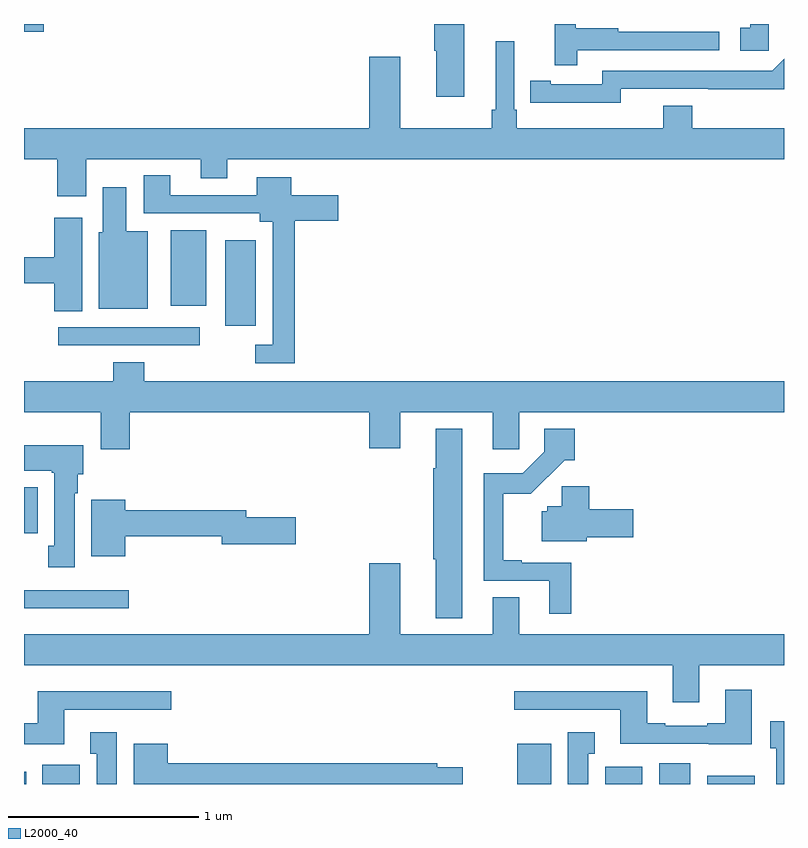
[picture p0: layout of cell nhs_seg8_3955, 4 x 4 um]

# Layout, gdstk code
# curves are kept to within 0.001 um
import gdstk
lib = gdstk.Library(unit=1e-6, precision=1e-09)
def R(c, l, rs):  # rectangles x0, y0, x1, y1
    for r in rs: c.add(gdstk.rectangle(r[:2], r[2:], *l))
def P(c, l, *ps):  # polygons
    for p in ps: c.add(gdstk.Polygon(p, *l))
L2000_40 = (2000, 40)

nhs_seg8_3955 = lib.new_cell('nhs_seg8_3955')
R(nhs_seg8_3955, L2000_40, [(355,1091.9,355.012,1091.965), (355.097,1091.9,355.293,1092.001), (357.596,1091.9,357.775,1092.112), (358.058,1091.9,358.255,1091.992), (358.343,1091.9,358.507,1092.01), (358.595,1091.9,358.846,1091.944), (355,1092.824,355.552,1092.921), (355,1093.22,355.072,1093.462), (355.179,1094.208,355.924,1094.304), (356.06,1094.313,356.221,1094.761), (355.772,1094.417,355.96,1094.815), (355,1095.86,355.103,1095.9)])
P(nhs_seg8_3955, L2000_40, [(358.92,1095.9),(358.823,1095.9),(358.823,1095.879),(358.77,1095.879),(358.77,1095.759),(358.92,1095.759)],
  [(357.911,1095.762),(358.66,1095.762),(358.66,1095.858),(358.127,1095.858),(358.127,1095.878),(357.904,1095.878),(357.904,1095.9),(357.794,1095.9),(357.794,1095.684),(357.911,1095.684)],
  [(357.316,1095.9),(357.158,1095.9),(357.158,1095.759),(357.17,1095.759),(357.17,1095.516),(357.316,1095.516)],
  [(355.327,1095.188),(355.931,1095.188),(355.931,1095.089),(356.071,1095.089),(356.071,1095.188),(359,1095.188),(359,1095.352),(358.517,1095.352),(358.517,1095.469),(358.364,1095.469),(358.364,1095.352),(357.593,1095.352),(357.593,1095.448),(357.579,1095.448),(357.579,1095.808),(357.482,1095.808),(357.482,1095.448),(357.463,1095.448),(357.463,1095.352),(356.98,1095.352),(356.98,1095.727),(356.816,1095.727),(356.816,1095.352),(355,1095.352),(355,1095.188),(355.175,1095.188),(355.175,1094.994),(355.327,1094.994)],
  [(358.14,1095.558),(359,1095.557),(359,1095.716),(358.938,1095.654),(358.044,1095.654),(358.044,1095.582),(357.772,1095.582),(357.772,1095.602),(357.664,1095.602),(357.664,1095.486),(358.14,1095.485)],
  [(356.426,1094.864),(356.653,1094.864),(356.653,1094.998),(356.407,1094.998),(356.407,1095.094),(356.225,1095.094),(356.225,1095),(355.771,1095),(355.771,1095.103),(355.631,1095.103),(355.631,1094.904),(356.24,1094.904),(356.24,1094.858),(356.31,1094.858),(356.31,1094.211),(356.217,1094.211),(356.217,1094.115),(356.426,1094.115)],
  [(355.651,1094.809),(355.537,1094.809),(355.537,1095.04),(355.415,1095.04),(355.415,1094.805),(355.394,1094.805),(355.394,1094.402),(355.651,1094.402)],
  [(355.306,1094.881),(355.16,1094.881),(355.16,1094.672),(355,1094.672),(355,1094.536),(355.16,1094.536),(355.16,1094.389),(355.306,1094.389)],
  [(355.556,1093.856),(356.816,1093.856),(356.816,1093.668),(356.98,1093.668),(356.98,1093.856),(357.467,1093.856),(357.467,1093.662),(357.606,1093.662),(357.606,1093.856),(359,1093.856),(359,1094.02),(355.634,1094.02),(355.634,1094.119),(355.469,1094.119),(355.469,1094.02),(355,1094.02),(355,1093.856),(355.403,1093.856),(355.403,1093.662),(355.556,1093.662)],
  [(357.307,1093.771),(357.167,1093.771),(357.167,1093.561),(357.155,1093.561),(357.155,1093.083),(357.167,1093.083),(357.167,1092.773),(357.307,1092.773)],
  [(357.881,1093.065),(357.619,1093.065),(357.619,1093.078),(357.523,1093.078),(357.523,1093.427),(357.667,1093.427),(357.845,1093.604),(357.899,1093.604),(357.899,1093.771),(357.738,1093.771),(357.738,1093.65),(357.624,1093.536),(357.419,1093.536),(357.419,1092.969),(357.764,1092.969),(357.764,1092.795),(357.881,1092.795)],
  [(355.267,1093.43),(355.282,1093.43),(355.282,1093.53),(355.312,1093.53),(355.312,1093.684),(355,1093.684),(355,1093.55),(355.147,1093.55),(355.147,1093.537),(355.16,1093.537),(355.16,1093.154),(355.127,1093.154),(355.127,1093.041),(355.267,1093.041)],
  [(357.961,1093.199),(358.207,1093.199),(358.207,1093.346),(357.974,1093.346),(357.974,1093.467),(357.829,1093.467),(357.829,1093.362),(357.753,1093.362),(357.753,1093.335),(357.725,1093.335),(357.725,1093.178),(357.961,1093.178)],
  [(355.534,1093.204),(356.042,1093.204),(356.042,1093.162),(356.431,1093.162),(356.431,1093.304),(356.17,1093.304),(356.17,1093.34),(355.534,1093.34),(355.534,1093.396),(355.355,1093.396),(355.355,1093.1),(355.534,1093.1)],
  [(358.555,1092.524),(359,1092.524),(359,1092.688),(357.607,1092.688),(357.607,1092.883),(357.467,1092.883),(357.467,1092.688),(356.98,1092.688),(356.98,1093.063),(356.816,1093.063),(356.816,1092.688),(355,1092.688),(355,1092.524),(358.415,1092.524),(358.415,1092.33),(358.555,1092.33)],
  [(358.831,1092.397),(358.691,1092.397),(358.691,1092.22),(358.595,1092.22),(358.595,1092.207),(358.375,1092.207),(358.375,1092.22),(358.279,1092.22),(358.279,1092.388),(357.579,1092.388),(357.579,1092.291),(358.139,1092.291),(358.139,1092.111),(358.603,1092.111),(358.603,1092.11),(358.831,1092.11)],
  [(355.213,1092.291),(355.774,1092.291),(355.774,1092.388),(355.073,1092.388),(355.073,1092.22),(355,1092.22),(355,1092.11),(355.213,1092.11)],
  [(359,1092.231),(358.928,1092.231),(358.928,1092.089),(358.959,1092.089),(358.959,1091.9),(359,1091.9)],
  [(355.489,1092.172),(355.349,1092.172),(355.349,1092.059),(355.382,1092.059),(355.382,1091.9),(355.489,1091.9)],
  [(357.97,1092.059),(358.003,1092.059),(358.003,1092.172),(357.863,1092.172),(357.863,1091.9),(357.97,1091.9)],
  [(357.31,1091.988),(357.176,1091.988),(357.176,1092.008),(355.756,1092.008),(355.756,1092.112),(355.577,1092.112),(355.577,1091.9),(357.31,1091.9)])

lib.write_gds('nhs_seg8_3955.gds')
